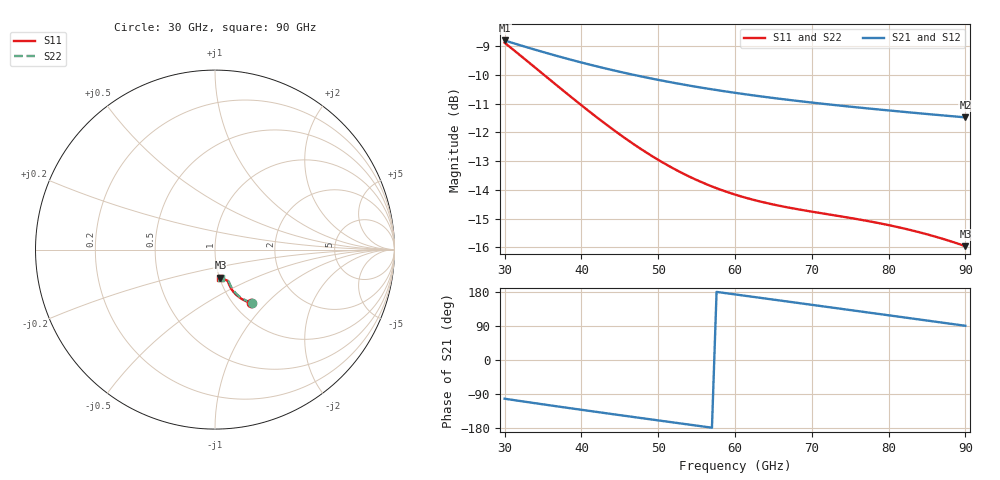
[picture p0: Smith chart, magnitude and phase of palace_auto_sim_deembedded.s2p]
! Created with skrf 1.11.0 (http://scikit-rf.org).
# GHz S DB R 50.0
!freq dBS11 angS11 dBS21 angS21 dBS12 angS12 dBS22 angS22
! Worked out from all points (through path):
!   101 points, 30 GHz to 90 GHz, reference 50 ohm
!   highest |S21| = -8.80 dB at 30 GHz (marker M1); lowest = -11.5 dB at 90 GHz (marker M2)
!   group delay of S21, straight-line fit = 7.71 ps
!   lowest |S11| = -16.0 dB at 90 GHz (marker M3), VSWR 1.38, Z = 50.5 - j16.2 ohm
!   |S11| at or under -10 dB: 35.15 GHz to end of sweep
!   |S22| runs from -15.8 to -8.9 dB; largest |S21 - S12| = 3.8e-14
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30  -8.88 -55.9  -8.80 -102.2  -8.80 -102.2  -8.90 -55.4
33  -9.53 -59.2  -9.04 -111.1  -9.04 -111.1  -9.56 -58.6
35.4  -10.05 -61.4  -9.23 -118.1  -9.23 -118.1  -10.08 -60.7
37.8  -10.58 -63.3  -9.41 -125.1  -9.41 -125.1  -10.61 -62.5
40.2  -11.09 -64.8  -9.58 -131.9  -9.58 -131.9  -11.12 -64.0
42.6  -11.59 -66.0  -9.74 -138.7  -9.74 -138.7  -11.61 -65.1
45  -12.07 -66.8  -9.89 -145.5  -9.89 -145.5  -12.08 -65.9
47.4  -12.51 -67.4  -10.03 -152.2  -10.03 -152.2  -12.52 -66.4
50.4  -13.01 -67.8  -10.19 -160.5  -10.19 -160.5  -13.01 -66.7
52.8  -13.37 -67.9  -10.31 -167.1  -10.31 -167.1  -13.35 -66.8
55.2  -13.68 -68.0  -10.42 -173.7  -10.42 -173.7  -13.64 -66.7
57.6  -13.94 -67.9  -10.52 179.7  -10.52 179.7  -13.89 -66.7
60  -14.16 -68.0  -10.62 173.1  -10.62 173.1  -14.10 -66.7
64.8  -14.49 -68.3  -10.79 159.9  -10.79 159.9  -14.41 -67.1
67.2  -14.62 -68.7  -10.87 153.3  -10.87 153.3  -14.52 -67.5
70.2  -14.76 -69.4  -10.96 145.1  -10.96 145.1  -14.65 -68.3
75.6  -15.00 -71.3  -11.12 130.2  -11.12 130.2  -14.87 -70.4
80.4  -15.24 -73.6  -11.24 116.9  -11.24 116.9  -15.11 -72.9
82.8  -15.39 -75.0  -11.30 110.2  -11.30 110.2  -15.26 -74.3
85.2  -15.56 -76.3  -11.36 103.6  -11.36 103.6  -15.42 -75.8
87.6  -15.74 -77.7  -11.42 96.9  -11.42 96.9  -15.61 -77.2
90  -15.96 -79.1  -11.47 90.3  -11.47 90.3  -15.82 -78.7
